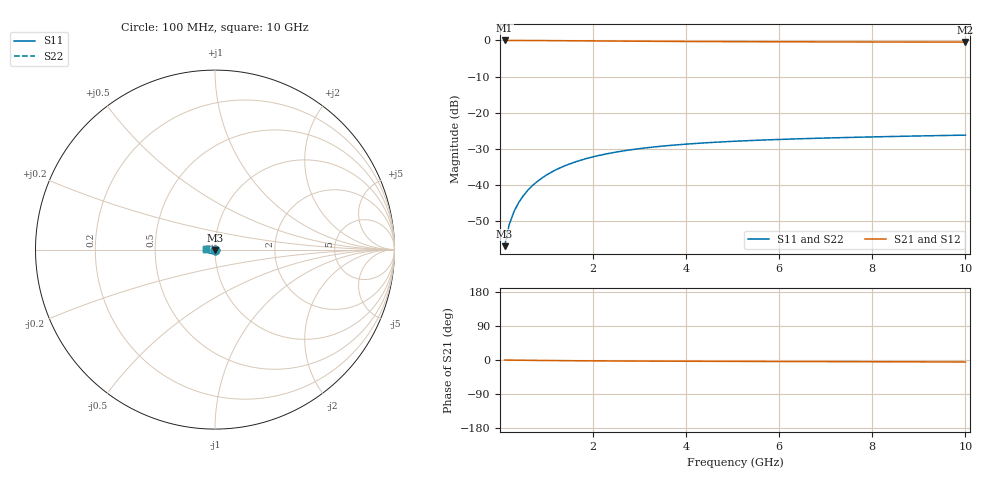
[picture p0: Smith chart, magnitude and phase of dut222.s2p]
! Touchstone file exported from HFSS 2024.1.0
!  File:  C:/UserFiles/LocalFiles/RDL_TSV_Batchsim/temp_TSV1_222_1779387918.aedt
!  Generated:  02:32:36 AM May 22, 2026
!  Design:  TSV1
!  Project:  temp_TSV1_222_1779387918
!  Setup:  Setup1
!  Solution:  Sweep
! Variables:
!  dtsv = 12.26um
!  hbump = 3um
!  htsv = 80.16um
!  lrdl = 252.1521522um
!  p = 40
!  p1 = 58.78um
!  t = 500um
!  trdl = 3um
!  wrdl = 24.89489489um
# GHz S MA R 50.000000
! Terminal data exported
! Port[1] = TSV22_T1
! Port[2] = TSV22_T2
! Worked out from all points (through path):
!   100 points, 100 MHz to 10 GHz, reference 50 ohm
!   highest |S21| = 0.00 dB at 100 MHz (marker M1); lowest = -0.5 dB at 10 GHz (marker M2)
!   lowest |S11| = -56.9 dB at 100 MHz (marker M3), VSWR 1.00, Z = 50 - j0.144 ohm
!   |S11| at or under -10 dB: start of sweep to end of sweep
!   |S22| runs from -56.9 to -26.2 dB; largest |S21 - S12| = 9.5e-15
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0.1  0.001437 -88.2  0.9998 -0.1  0.9998 -0.1  0.001437 -88.2
! Gamma 0 0 0 0
! Port Impedance 50 0 50 0
0.2  0.002869 -92.0  0.9997 -0.3  0.9997 -0.3  0.002869 -92.0
0.3  0.004299 -94.5  0.9994 -0.4  0.9994 -0.4  0.004299 -94.5
0.4  0.00572 -96.8  0.9991 -0.5  0.9991 -0.5  0.00572 -96.8
0.5  0.007128 -99.0  0.9986 -0.7  0.9986 -0.7  0.007128 -99.0
0.6  0.008518 -101.1  0.9981 -0.8  0.9981 -0.8  0.008518 -101.1
0.7  0.009886 -103.1  0.9974 -0.9  0.9974 -0.9  0.009886 -103.1
0.8  0.01123 -105.1  0.9968 -1.1  0.9968 -1.1  0.01123 -105.1
0.9  0.01254 -107.1  0.996 -1.2  0.996 -1.2  0.01254 -107.1
1.1  0.01507 -110.9  0.9943 -1.4  0.9943 -1.4  0.01507 -110.9
1.4  0.0186 -116.3  0.9915 -1.7  0.9915 -1.7  0.0186 -116.3
1.6  0.02076 -119.7  0.9895 -1.9  0.9895 -1.9  0.02076 -119.7
1.8  0.02278 -123.0  0.9874 -2.1  0.9874 -2.1  0.02278 -123.0
2.1  0.02552 -127.6  0.9843 -2.3  0.9843 -2.3  0.02552 -127.6
2.5  0.02871 -133.2  0.9803 -2.6  0.9803 -2.6  0.02871 -133.2
2.9  0.03141 -138.2  0.9765 -2.8  0.9765 -2.8  0.03141 -138.2
3.4  0.03421 -143.9  0.9723 -3.0  0.9723 -3.0  0.03421 -143.9
4.2  0.03771 -151.6  0.9667 -3.4  0.9667 -3.4  0.03771 -151.6
5.1  0.04063 -158.9  0.9618 -3.7  0.9618 -3.7  0.04063 -158.9
6.7  0.04429 -169.3  0.9558 -4.2  0.9558 -4.2  0.04429 -169.3
8.4  0.04706 -178.1  0.9517 -4.7  0.9517 -4.7  0.04706 -178.1
10  0.04919 175.0  0.9491 -5.3  0.9491 -5.3  0.04919 175.0
